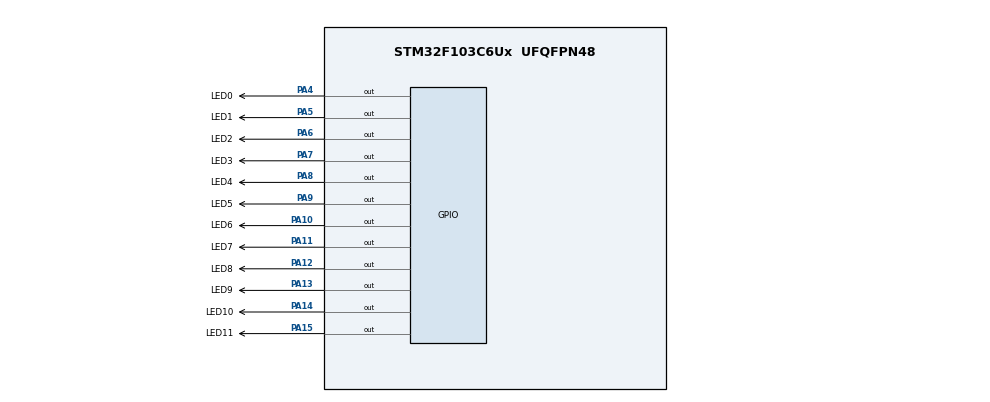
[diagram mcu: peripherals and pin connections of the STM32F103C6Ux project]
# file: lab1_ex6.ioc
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Mcu.Family=STM32F1
Mcu.Name=STM32F103C6Ux
Mcu.Package=UFQFPN48
NVIC.PriorityGroup=NVIC_PRIORITYGROUP_4
PA10.GPIO_Label=LED6
PA10.Signal=GPIO_Output
PA11.GPIO_Label=LED7
PA11.Signal=GPIO_Output
PA12.GPIO_Label=LED8
PA12.Signal=GPIO_Output
PA13.GPIO_Label=LED9
PA13.Signal=GPIO_Output
PA14.GPIO_Label=LED10
PA14.Signal=GPIO_Output
PA15.GPIO_Label=LED11
PA15.Signal=GPIO_Output
PA4.GPIO_Label=LED0
PA4.Signal=GPIO_Output
PA5.GPIO_Label=LED1
PA5.Signal=GPIO_Output
PA6.GPIO_Label=LED2
PA6.Signal=GPIO_Output
PA7.GPIO_Label=LED3
PA7.Signal=GPIO_Output
PA8.GPIO_Label=LED4
PA8.Signal=GPIO_Output
PA9.GPIO_Label=LED5
PA9.Signal=GPIO_Output
ProjectManager.HeapSize=0x200
ProjectManager.StackSize=0x400
ProjectManager.TargetToolchain=STM32CubeIDE
RCC.APB1Freq_Value=8000000
RCC.APB2Freq_Value=8000000
VP_SYS_VS_ND.Mode=No_Debug
board=custom

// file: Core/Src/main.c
/* USER CODE BEGIN Header */
/**
  ******************************************************************************
  * @file           : main.c
  * @brief          : Main program body
  ******************************************************************************
  * @attention
  *
  * <h2><center>&copy; Copyright (c) 2025 STMicroelectronics.
  * All rights reserved.</center></h2>
  *
  * This software component is licensed by ST under BSD 3-Clause license,
  * the "License"; You may not use this file except in compliance with the
  * License. You may obtain a copy of the License at:
  *                        opensource.org/licenses/BSD-3-Clause
  *
  ******************************************************************************
  */
/* USER CODE END Header */
#include "main.h"

void SystemClock_Config(void);
static void MX_GPIO_Init(void);

int main(void)
{

  /* MCU Configuration--------------------------------------------------------*/

  /* Reset of all peripherals, Initializes the Flash interface and the Systick. */
  HAL_Init();

  /* Configure the system clock */
  SystemClock_Config();

  /* Initialize all configured peripherals */
  MX_GPIO_Init();

  /* Infinite loop */
  /* USER CODE BEGIN WHILE */

  const uint16_t led_pins[12] = {
      LED0_Pin, LED1_Pin, LED2_Pin, LED3_Pin,
  	  LED4_Pin, LED5_Pin, LED6_Pin, LED7_Pin,
  	  LED8_Pin, LED9_Pin, LED10_Pin, LED11_Pin
    };

    GPIO_TypeDef* led_ports[12] = {
  	  LED0_GPIO_Port, LED1_GPIO_Port, LED2_GPIO_Port, LED3_GPIO_Port,
  	  LED4_GPIO_Port, LED5_GPIO_Port, LED6_GPIO_Port, LED7_GPIO_Port,
  	  LED8_GPIO_Port, LED9_GPIO_Port, LED10_GPIO_Port, LED11_GPIO_Port
    };

  int led_index=0;

  while (1)
  {
	  //TEST(EX6)
	  for (int i = 0; i < 12; i++)
	  {
		  HAL_GPIO_WritePin(led_ports[i], led_pins[i], GPIO_PIN_SET);
	  }
	  HAL_GPIO_WritePin(led_ports[led_index], led_pins[led_index], GPIO_PIN_RESET);
	  led_index++;
	  if (led_index >= 12)		led_index = 0;

	  HAL_Delay(1000);

    /* USER CODE END WHILE */

  }
}

void SystemClock_Config(void)
{
  RCC_OscInitTypeDef RCC_OscInitStruct = {0};
  RCC_ClkInitTypeDef RCC_ClkInitStruct = {0};

  /** Initializes the RCC Oscillators according to the specified parameters
  * in the RCC_OscInitTypeDef structure.
  */
  RCC_OscInitStruct.OscillatorType = RCC_OSCILLATORTYPE_HSI;
  RCC_OscInitStruct.HSIState = RCC_HSI_ON;
  RCC_OscInitStruct.HSICalibrationValue = RCC_HSICALIBRATION_DEFAULT;
  RCC_OscInitStruct.PLL.PLLState = RCC_PLL_NONE;
  if (HAL_RCC_OscConfig(&RCC_OscInitStruct) != HAL_OK)
  {
    Error_Handler();
  }
  /** Initializes the CPU, AHB and APB buses clocks
  */
  RCC_ClkInitStruct.ClockType = RCC_CLOCKTYPE_HCLK|RCC_CLOCKTYPE_SYSCLK
                              |RCC_CLOCKTYPE_PCLK1|RCC_CLOCKTYPE_PCLK2;
  RCC_ClkInitStruct.SYSCLKSource = RCC_SYSCLKSOURCE_HSI;
  RCC_ClkInitStruct.AHBCLKDivider = RCC_SYSCLK_DIV1;
  RCC_ClkInitStruct.APB1CLKDivider = RCC_HCLK_DIV1;
  RCC_ClkInitStruct.APB2CLKDivider = RCC_HCLK_DIV1;

  if (HAL_RCC_ClockConfig(&RCC_ClkInitStruct, FLASH_LATENCY_0) != HAL_OK)
  {
    Error_Handler();
  }
}

static void MX_GPIO_Init(void)
{
  GPIO_InitTypeDef GPIO_InitStruct = {0};

  /* GPIO Ports Clock Enable */
  __HAL_RCC_GPIOA_CLK_ENABLE();

  /*Configure GPIO pin Output Level */
  HAL_GPIO_WritePin(GPIOA, LED0_Pin|LED1_Pin|LED2_Pin|LED3_Pin
                          |LED4_Pin|LED5_Pin|LED6_Pin|LED7_Pin
                          |LED8_Pin|LED9_Pin|LED10_Pin|LED11_Pin, GPIO_PIN_RESET);

  /*Configure GPIO pins : LED0_Pin LED1_Pin LED2_Pin LED3_Pin
                           LED4_Pin LED5_Pin LED6_Pin LED7_Pin
                           LED8_Pin LED9_Pin LED10_Pin LED11_Pin */
  GPIO_InitStruct.Pin = LED0_Pin|LED1_Pin|LED2_Pin|LED3_Pin
                          |LED4_Pin|LED5_Pin|LED6_Pin|LED7_Pin
                          |LED8_Pin|LED9_Pin|LED10_Pin|LED11_Pin;
  GPIO_InitStruct.Mode = GPIO_MODE_OUTPUT_PP;
  GPIO_InitStruct.Pull = GPIO_NOPULL;
  GPIO_InitStruct.Speed = GPIO_SPEED_FREQ_LOW;
  HAL_GPIO_Init(GPIOA, &GPIO_InitStruct);

}

void Error_Handler(void)
{
  __disable_irq();
  while (1)
  {
  }
}

/************************ (C) COPYRIGHT STMicroelectronics *****END OF FILE****/
